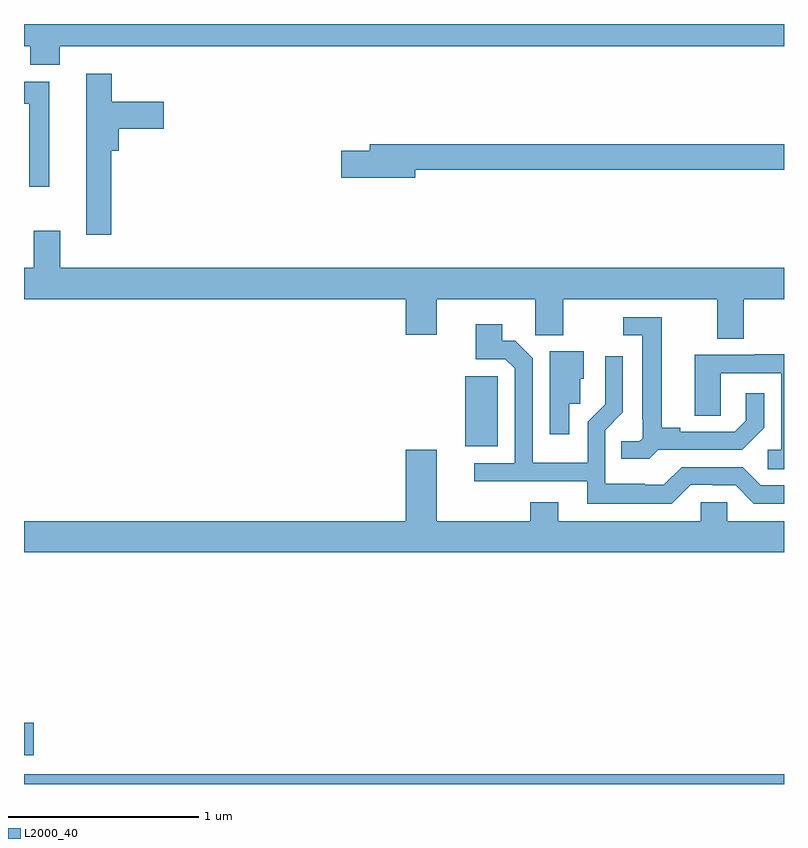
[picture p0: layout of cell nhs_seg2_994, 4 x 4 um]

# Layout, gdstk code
import gdstk
lib = gdstk.Library(unit=1e-6, precision=1e-09)
def R(c, l, rs):  # rectangles x0, y0, x1, y1
    for r in rs: c.add(gdstk.rectangle(r[:2], r[2:], *l))
def P(c, l, *ps):  # polygons
    for p in ps: c.add(gdstk.Polygon(p, *l))
L2000_40 = (2000, 40)

nhs_seg2_994 = lib.new_cell('nhs_seg2_994')
R(nhs_seg2_994, L2000_40, [(163,595.8,167,595.852), (163,595.952,163.051,596.123), (165.323,597.578,165.493,597.945)])
P(nhs_seg2_994, L2000_40, [(163.187,599.684),(167,599.684),(167,599.8),(163,599.8),(163,599.684),(163.034,599.684),(163.034,599.585),(163.187,599.585)],
  [(163.46,599.132),(163.499,599.132),(163.499,599.249),(163.735,599.249),(163.735,599.391),(163.463,599.391),(163.463,599.539),(163.328,599.539),(163.328,598.692),(163.46,598.692)],
  [(163.132,599.496),(163,599.496),(163,599.38),(163.028,599.38),(163.028,598.944),(163.132,598.944)],
  [(165.058,599.032),(167,599.032),(167,599.168),(164.819,599.168),(164.819,599.132),(164.67,599.132),(164.67,598.99),(165.058,598.99)],
  [(166.789,598.352),(167,598.352),(167,598.516),(163.192,598.516),(163.192,598.711),(163.052,598.711),(163.052,598.516),(163,598.516),(163,598.352),(165.008,598.352),(165.008,598.164),(165.172,598.164),(165.172,598.352),(165.69,598.352),(165.69,598.163),(165.837,598.163),(165.837,598.352),(166.649,598.352),(166.649,598.144),(166.789,598.144)],
  [(166.338,597.558),(166.78,597.558),(166.896,597.674),(166.896,597.856),(166.799,597.856),(166.799,597.711),(166.742,597.654),(166.453,597.654),(166.453,597.674),(166.357,597.674),(166.357,598.257),(166.155,598.257),(166.155,598.161),(166.253,598.161),(166.253,597.721),(166.257,597.721),(166.257,597.621),(166.239,597.603),(166.144,597.603),(166.144,597.511),(166.29,597.511)],
  [(166.509,597.375),(166.626,597.375),(166.626,597.372),(166.746,597.372),(166.842,597.276),(167,597.276),(167,597.372),(166.878,597.372),(166.782,597.468),(166.461,597.468),(166.368,597.375),(166.268,597.375),(166.268,597.379),(166.059,597.379),(166.059,597.663),(166.152,597.756),(166.152,598.051),(166.058,598.051),(166.058,597.798),(165.966,597.706),(165.966,597.49),(165.678,597.49),(165.678,598.041),(165.585,598.134),(165.517,598.134),(165.517,598.219),(165.377,598.219),(165.377,598.035),(165.534,598.035),(165.582,597.987),(165.582,597.489),(165.369,597.489),(165.369,597.393),(165.965,597.393),(165.965,597.275),(166.409,597.275)],
  [(165.871,597.801),(165.927,597.801),(165.927,597.933),(165.946,597.933),(165.946,598.078),(165.767,598.078),(165.767,597.642),(165.871,597.642)],
  [(167,598.063),(166.847,598.063),(166.847,598.059),(166.529,598.059),(166.529,597.739),(166.668,597.739),(166.668,597.963),(166.986,597.963),(166.986,597.558),(166.914,597.558),(166.914,597.457),(167,597.457)],
  [(165.008,597.559),(165.008,597.184),(163,597.184),(163,597.02),(167,597.02),(167,597.184),(166.701,597.184),(166.701,597.282),(166.563,597.282),(166.563,597.184),(165.811,597.184),(165.811,597.283),(165.664,597.283),(165.664,597.184),(165.172,597.184),(165.172,597.559)])

lib.write_gds('nhs_seg2_994.gds')
